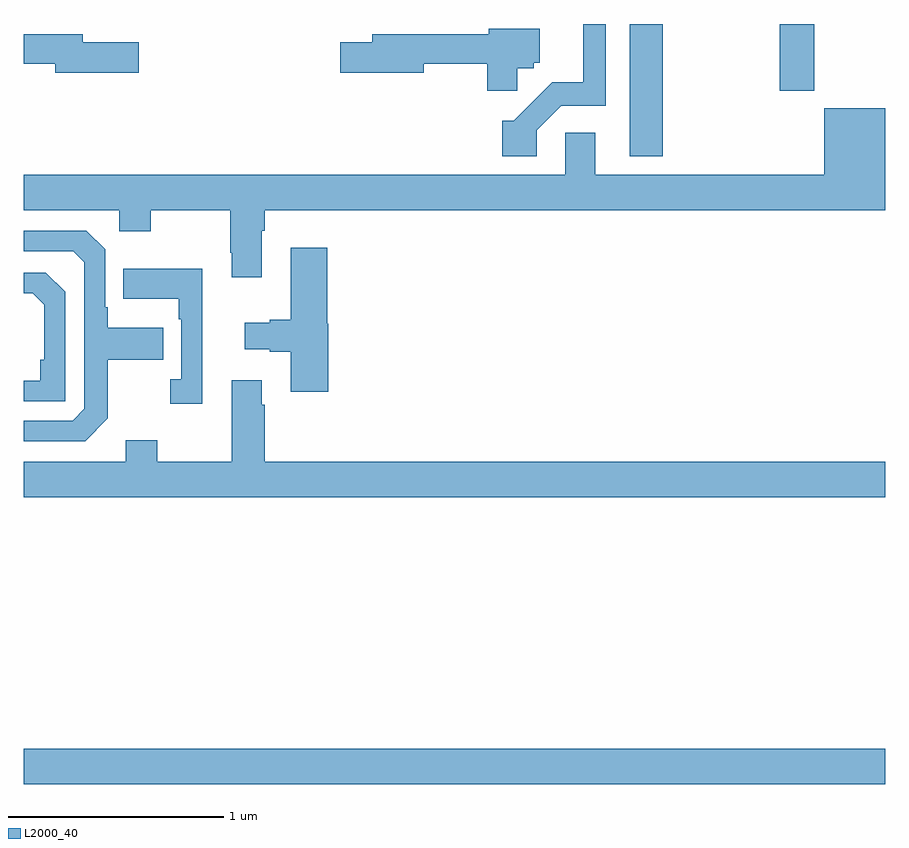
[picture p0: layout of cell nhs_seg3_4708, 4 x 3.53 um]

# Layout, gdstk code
import gdstk
lib = gdstk.Library(unit=1e-6, precision=1e-09)
def R(c, l, rs):  # rectangles x0, y0, x1, y1
    for r in rs: c.add(gdstk.rectangle(r[:2], r[2:], *l))
def P(c, l, *ps):  # polygons
    for p in ps: c.add(gdstk.Polygon(p, *l))
L2000_40 = (2000, 40)

nhs_seg3_4708 = lib.new_cell('nhs_seg3_4708')
R(nhs_seg3_4708, L2000_40, [(363,744.872,367,745.036), (365.813,747.785,365.966,748.4), (366.509,748.089,366.669,748.4)])
P(nhs_seg3_4708, L2000_40, [(365.382,747.906),(365.496,748.02),(365.701,748.02),(365.701,748.4),(365.597,748.4),(365.597,748.13),(365.453,748.13),(365.275,747.952),(365.222,747.952),(365.222,747.786),(365.382,747.786)],
  [(365.291,748.194),(365.367,748.194),(365.367,748.221),(365.395,748.221),(365.395,748.378),(365.159,748.378),(365.159,748.352),(364.619,748.352),(364.619,748.316),(364.47,748.316),(364.47,748.174),(364.858,748.174),(364.858,748.216),(365.152,748.216),(365.152,748.089),(365.291,748.089)],
  [(363.535,748.316),(363.274,748.316),(363.274,748.352),(363,748.352),(363,748.216),(363.146,748.216),(363.146,748.174),(363.535,748.174)],
  [(364.105,747.44),(364.118,747.44),(364.118,747.536),(367,747.536),(367,748.009),(366.716,748.009),(366.716,747.7),(365.653,747.7),(365.653,747.895),(365.514,747.895),(365.514,747.7),(363,747.7),(363,747.536),(363.444,747.536),(363.444,747.437),(363.591,747.437),(363.591,747.536),(363.958,747.536),(363.958,747.337),(363.965,747.337),(363.965,747.225),(364.105,747.225)],
  [(363.391,746.569),(363.391,746.842),(363.647,746.842),(363.647,746.989),(363.391,746.989),(363.391,747.085),(363.378,747.085),(363.378,747.354),(363.291,747.441),(363,747.441),(363,747.345),(363.231,747.345),(363.282,747.294),(363.282,746.613),(363.228,746.559),(363,746.559),(363,746.463),(363.285,746.463)],
  [(364.414,747.009),(364.409,747.009),(364.409,747.361),(364.241,747.361),(364.241,747.026),(364.142,747.026),(364.142,747.013),(364.026,747.013),(364.026,746.891),(364.142,746.891),(364.142,746.879),(364.241,746.879),(364.241,746.694),(364.414,746.694)],
  [(363.83,747.265),(363.463,747.265),(363.463,747.125),(363.72,747.125),(363.72,747.029),(363.732,747.029),(363.732,746.75),(363.681,746.75),(363.681,746.637),(363.83,746.637)],
  [(363.192,747.156),(363.102,747.246),(363,747.246),(363,747.149),(363.043,747.149),(363.096,747.096),(363.096,746.842),(363.076,746.842),(363.076,746.745),(363,746.745),(363,746.649),(363.192,746.649)],
  [(367,746.368),(364.118,746.368),(364.118,746.633),(364.105,746.633),(364.105,746.746),(363.965,746.746),(363.965,746.368),(363.621,746.368),(363.621,746.467),(363.473,746.467),(363.473,746.368),(363,746.368),(363,746.204),(367,746.204)])

lib.write_gds('nhs_seg3_4708.gds')
